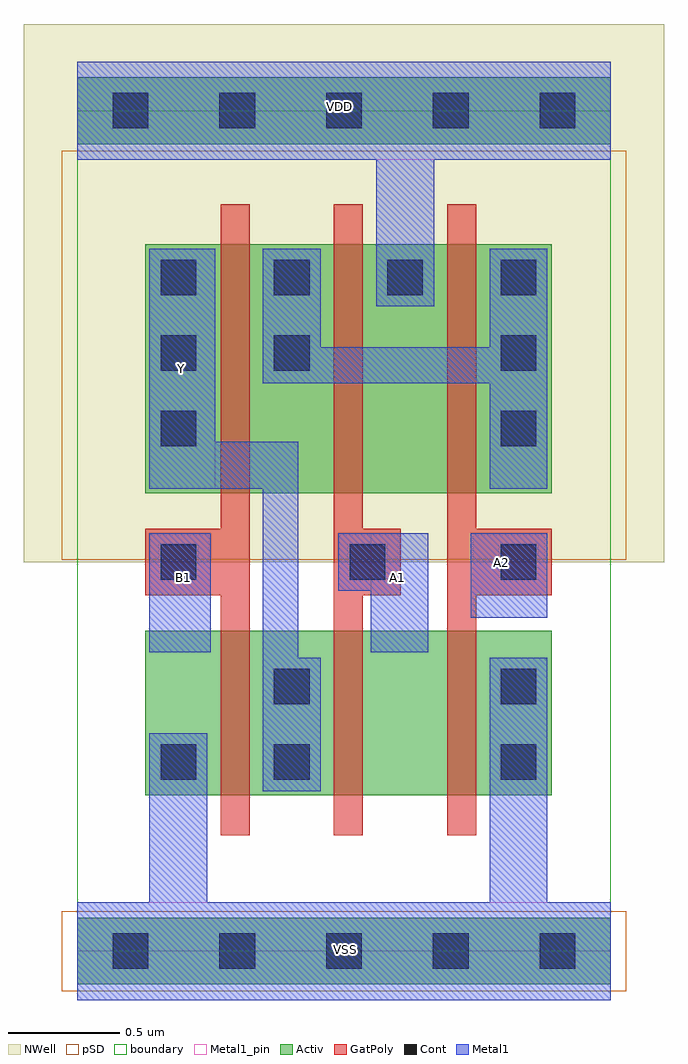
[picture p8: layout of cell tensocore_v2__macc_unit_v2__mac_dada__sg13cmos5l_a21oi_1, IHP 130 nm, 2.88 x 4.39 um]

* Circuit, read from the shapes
.subckt tensocore_v2__macc_unit_v2__mac_dada__sg13cmos5l_a21oi_1 A1 A2 B1 VDD VSS Y
XM1 Y B1 VSS VSS sg13_lv_nmos w=0.74u l=0.13u
XM2 n1 A1 Y VSS sg13_lv_nmos w=0.74u l=0.13u
XM3 VSS A2 n1 VSS sg13_lv_nmos w=0.74u l=0.13u
XM4 n2 B1 Y VDD sg13_lv_pmos w=1.12u l=0.13u
XM5 VDD A1 n2 VDD sg13_lv_pmos w=1.12u l=0.13u
XM6 n2 A2 VDD VDD sg13_lv_pmos w=1.12u l=0.13u
.ends

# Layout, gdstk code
import gdstk
lib = gdstk.Library(unit=1e-6, precision=1e-09)
def R(c, l, rs):  # rectangles x0, y0, x1, y1
    for r in rs: c.add(gdstk.rectangle(r[:2], r[2:], *l))
def A(c, l, x, y, w, h, nx, ny, dx, dy):  # array of equal rectangles
    R(c, l, [(x+i*dx, y+j*dy, x+i*dx+w, y+j*dy+h) for i in range(nx) for j in range(ny)])
def P(c, l, *ps):  # polygons
    for p in ps: c.add(gdstk.Polygon(p, *l))
Activ = (1, 0)
GatPoly = (5, 0)
Cont = (6, 0)
Metal1 = (8, 0)
Metal1_pin = (8, 2)
pSD = (14, 0)
NWell = (31, 0)
boundary = (189, 4)

tensocore_v2__macc_unit_ = lib.new_cell('tensocore_v2__macc_unit_v2__mac_dada__sg13cmos5l_a21oi_1')
R(tensocore_v2__macc_unit_, Activ, [(0,-0.15,2.4,0.15), (0.305,0.7,2.135,1.44), (0.305,2.06,2.135,3.18), (0,3.63,2.4,3.93)])
P(tensocore_v2__macc_unit_, GatPoly, [(0.645,0.52),(0.645,1.6),(0.305,1.6),(0.305,1.9),(0.645,1.9),(0.645,3.36),(0.775,3.36),(0.775,0.52)],
  [(1.155,0.52),(1.155,3.36),(1.285,3.36),(1.285,1.9),(1.455,1.9),(1.455,1.6),(1.285,1.6),(1.285,0.52)],
  [(1.665,0.52),(1.665,3.36),(1.795,3.36),(1.795,1.9),(2.135,1.9),(2.135,1.6),(1.795,1.6),(1.795,0.52)])
A(tensocore_v2__macc_unit_, Cont, 0.16, -0.08, 0.16, 0.16, 5, 2, 0.48, 3.78)
A(tensocore_v2__macc_unit_, Cont, 0.375, 2.95, 0.16, 0.16, 4, 1, 0.51, 0)
R(tensocore_v2__macc_unit_, Cont, [(0.375,0.77,0.535,0.93), (0.885,0.77,1.045,0.93), (1.905,0.77,2.065,0.93), (0.885,1.11,1.045,1.27), (1.905,1.11,2.065,1.27), (0.375,1.67,0.535,1.83), (1.225,1.67,1.385,1.83), (1.905,1.67,2.065,1.83), (0.375,2.27,0.535,2.43), (1.905,2.27,2.065,2.43), (0.375,2.61,0.535,2.77), (0.885,2.61,1.045,2.77), (1.905,2.61,2.065,2.77)])
R(tensocore_v2__macc_unit_, Metal1, [(0.325,1.345,0.6,1.88), (1.77,1.5,2.115,1.88)])
P(tensocore_v2__macc_unit_, Metal1, [(0.835,0.72),(0.835,2.08),(0.325,2.08),(0.325,3.16),(0.62,3.16),(0.62,2.29),(0.995,2.29),(0.995,1.32),(1.095,1.32),(1.095,0.72)],
  [(0,-0.22),(0,0.22),(0.325,0.22),(0.325,0.98),(0.585,0.98),(0.585,0.22),(1.855,0.22),(1.855,1.32),(2.115,1.32),(2.115,0.22),(2.4,0.22),(2.4,-0.22)],
  [(1.345,2.9),(1.345,3.56),(0,3.56),(0,4),(2.4,4),(2.4,3.56),(1.605,3.56),(1.605,2.9)],
  [(1.32,1.345),(1.32,1.62),(1.175,1.62),(1.175,1.88),(1.58,1.88),(1.58,1.345)],
  [(1.855,2.08),(1.855,2.555),(0.835,2.555),(0.835,3.16),(1.095,3.16),(1.095,2.715),(1.855,2.715),(1.855,3.16),(2.115,3.16),(2.115,2.08)])
R(tensocore_v2__macc_unit_, Metal1_pin, [(0,-0.22,2.4,0.22), (0.325,1.345,0.6,1.88), (1.32,1.345,1.58,1.88), (1.77,1.5,2.115,1.88), (0.325,2.08,0.62,3.16), (0,3.56,2.4,4)])
R(tensocore_v2__macc_unit_, pSD, [(-0.07,-0.18,2.47,0.18), (-0.07,1.76,2.47,3.6)])
R(tensocore_v2__macc_unit_, NWell, [(-0.24,1.75,2.64,4.17)])
R(tensocore_v2__macc_unit_, boundary, [(0,0,2.4,3.78)])
tensocore_v2__macc_unit_.add(gdstk.Label('Y', (0.47,2.62), layer=8, texttype=25))
tensocore_v2__macc_unit_.add(gdstk.Label('B1', (0.48,1.682), layer=8, texttype=25))
tensocore_v2__macc_unit_.add(gdstk.Label('A1', (1.44,1.68), layer=8, texttype=25))
tensocore_v2__macc_unit_.add(gdstk.Label('A2', (1.91,1.75), layer=8, texttype=25))
tensocore_v2__macc_unit_.add(gdstk.Label('VSS', (1.205,0.005), layer=8, texttype=25))
tensocore_v2__macc_unit_.add(gdstk.Label('VDD', (1.18,3.8), layer=8, texttype=25))

lib.write_gds('tensocore_v2__macc_unit_v2__mac_dada__sg13cmos5l_a21oi_1.gds')
